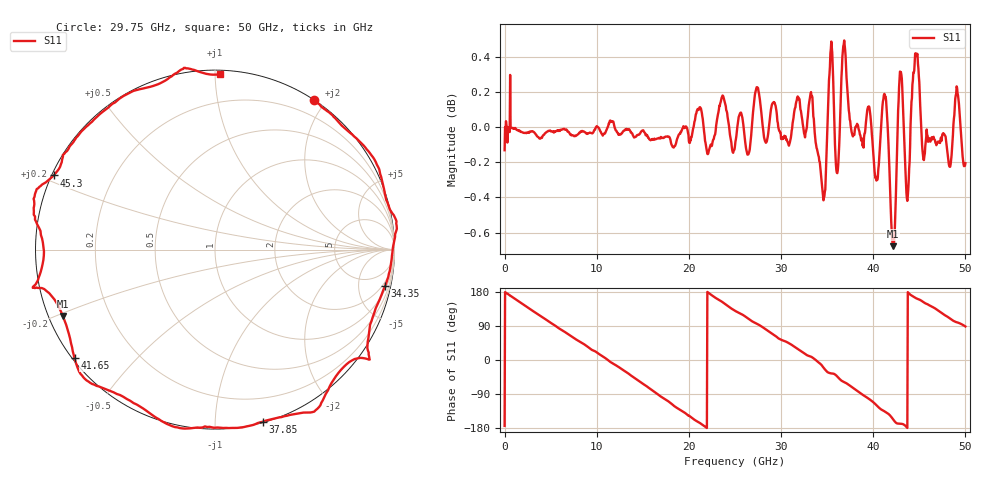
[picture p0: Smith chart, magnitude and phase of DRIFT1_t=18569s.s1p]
!Created with skrf (http://scikit-rf.org).
# Hz S RI R 50.0
!freq ReS11 ImS11
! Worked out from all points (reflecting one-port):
!   1001 points, 300 kHz to 50 GHz, reference 50 ohm
!   lowest |S11| = -0.7 dB at 42.15 GHz (marker M1), VSWR 25.65, Z = 2.03 - j10.4 ohm
!   phase of S11 starts at -174 deg and turns -818 deg over the sweep
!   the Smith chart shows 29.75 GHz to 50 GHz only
!   S11 on the Smith chart (normalised r, x): 29.75 GHz: 0.00, +1.86; 34.35 GHz: 1.41, -9.16; 37.85 GHz: 0.01, -1.32; 41.65 GHz: 0.01, -0.34; 45.3 GHz: 0.01, +0.22; 50 GHz: 0.02, +1.03
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300000  -0.9795 -0.1042
1.450291e9  -0.9121 0.405
3.25028e9  -0.5917 0.8016
6.250262e9  0.2024 0.9779
9.500243e9  0.8926 0.4418
1.250022e10  0.9316 -0.35
1.580021e10  0.2365 -0.9629
1.74002e10  -0.224 -0.9681
1.875019e10  -0.5988 -0.7919
2.150017e10  -0.9941 -0.1516
2.350016e10  -0.9235 0.4284
2.500015e10  -0.6324 0.7589
2.740014e10  -0.0945 1.022
2.975012e10  0.5507 0.833
3.125011e10  0.7878 0.6201
3.31501e10  1.005 0.1726
3.435009e10  0.9464 -0.2042
3.520009e10  0.8566 -0.5748
3.750008e10  0.3703 -0.9334
3.785007e10  0.269 -0.9584
3.960006e10  -0.2382 -0.9839
4.165005e10  -0.7824 -0.6059
4.215005e10  -0.8476 -0.3703
4.290004e10  -1.015 -0.2133
4.375004e10  -0.9558 0.0151
4.530003e10  -0.8978 0.4132
4.770001e10  -0.4881 0.8676
5e10  0.0258 0.9763
